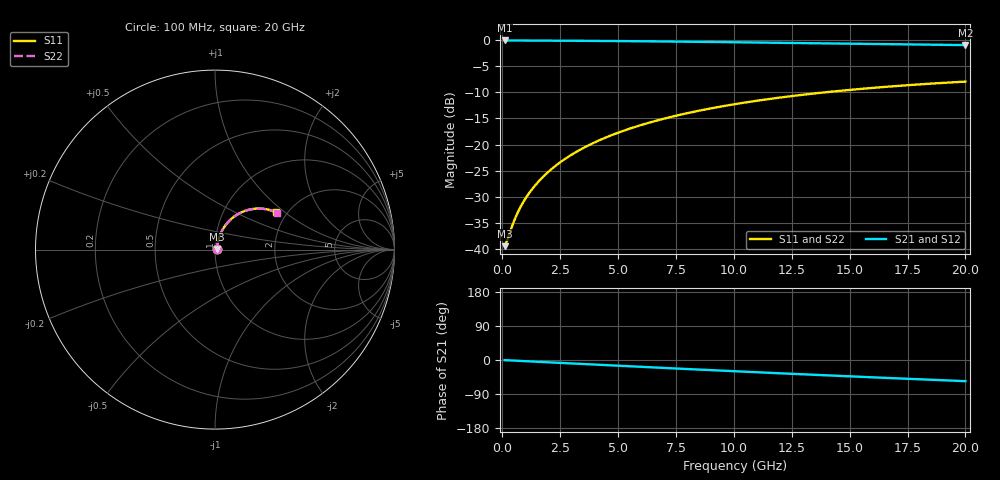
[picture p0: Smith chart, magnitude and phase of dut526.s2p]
! Touchstone file exported from HFSS 2026.1.0
!  File:  C:/ffzhzh/LocalFiles/Ansys_Project_Files/temp_train_BSMRDL_526_1783014654_4048.aedt
!  Generated:  01:52:23 AM Jul  3, 2026
!  Design:  BSMRDL
!  Project:  temp_train_BSMRDL_526_1783014654_4048
! Variables:
!  h_bsmrdl = 2.5um
!  h_ox = 20um
!  h_rdl = 5um
!  h_sub = 80um
!  h_tmrdl = 5um
!  h_tsv = 80um
!  h_via = 3um
!  l_bsmrdl = 928.22um
!  l_sub = 1328.22um
!  l_tmrdl = 200um
!  m_sub = 200um
!  pitch = 24.39um
!  r_tsv = 6um
!  s_tmrdl = 10um
!  w_bsmrdl = 12.76um
!  w_sub = 500um
!  w_tmrdl = 12um
!  x_tsv_center1 = 206um
!  x_tsv_center2 = 1146.98um
!  x_tsv_center3 = 1358.98um
!  x_tsv_center4 = 2299.96um
!  x_tsv_center5 = 2511.96um
!  x_tsv_center6 = 3452.94um
# GHz S MA R 50.000000
! Terminal data exported
! Port[1] = BSM_RDL1_1_T1
! Port[2] = BSM_RDL1_1_T2
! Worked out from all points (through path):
!   200 points, 100 MHz to 20 GHz, reference 50 ohm
!   highest |S21| = -0.09 dB at 100 MHz (marker M1); lowest = -1.0 dB at 20 GHz (marker M2)
!   group delay of S21, straight-line fit = 7.76 ps
!   lowest |S11| = -39.4 dB at 100 MHz (marker M3), VSWR 1.02, Z = 51 + j0.304 ohm
!   |S11| at or under -10 dB: start of sweep to 13.96 GHz
!   |S22| runs from -39.4 to -8.0 dB; largest |S21 - S12| = 1.9e-14
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0.1  0.01067 16.2  0.9898 -0.3  0.9898 -0.3  0.01067 16.2
! Gamma 0 0 0 0
! Port Impedance 50 0 50 0
0.2  0.012 29.6  0.9896 -0.7  0.9896 -0.7  0.012 29.6
0.5  0.01837 51.2  0.9888 -1.6  0.9888 -1.6  0.01837 51.2
0.7  0.02316 57.7  0.9882 -2.2  0.9882 -2.2  0.02316 57.7
0.8  0.02557 59.9  0.9879 -2.5  0.9879 -2.5  0.02558 59.9
1  0.03043 63.2  0.9874 -3.1  0.9874 -3.1  0.03043 63.2
1.3  0.03776 66.4  0.9868 -4.0  0.9868 -4.0  0.03776 66.4
1.5  0.04268 67.9  0.9864 -4.6  0.9864 -4.6  0.04269 67.8
1.8  0.05012 69.3  0.9858 -5.5  0.9858 -5.5  0.05012 69.3
2.3  0.06261 70.6  0.9847 -7.0  0.9847 -7.0  0.06262 70.6
2.9  0.07767 71.0  0.9833 -8.9  0.9833 -8.9  0.07768 71.0
3.5  0.0927 70.7  0.9817 -10.7  0.9817 -10.7  0.09271 70.6
4.2  0.1101 69.8  0.9796 -12.7  0.9796 -12.7  0.1101 69.7
5  0.1298 68.3  0.9768 -15.1  0.9768 -15.1  0.1298 68.3
5.9  0.1514 66.4  0.9731 -17.8  0.9731 -17.8  0.1515 66.4
6.8  0.1726 64.3  0.9691 -20.4  0.9691 -20.4  0.1726 64.3
8.3  0.2064 60.6  0.9615 -24.8  0.9615 -24.8  0.2065 60.5
10.1  0.2446 56.0  0.9515 -29.9  0.9515 -29.9  0.2446 55.9
11.7  0.276 51.8  0.942 -34.3  0.942 -34.3  0.2761 51.7
13.4  0.3067 47.5  0.9316 -38.9  0.9316 -38.9  0.3068 47.3
16.7  0.3584 39.2  0.9117 -47.6  0.9117 -47.6  0.3586 39.0
20  0.4 31.2  0.8936 -55.9  0.8936 -55.9  0.4002 31.0
